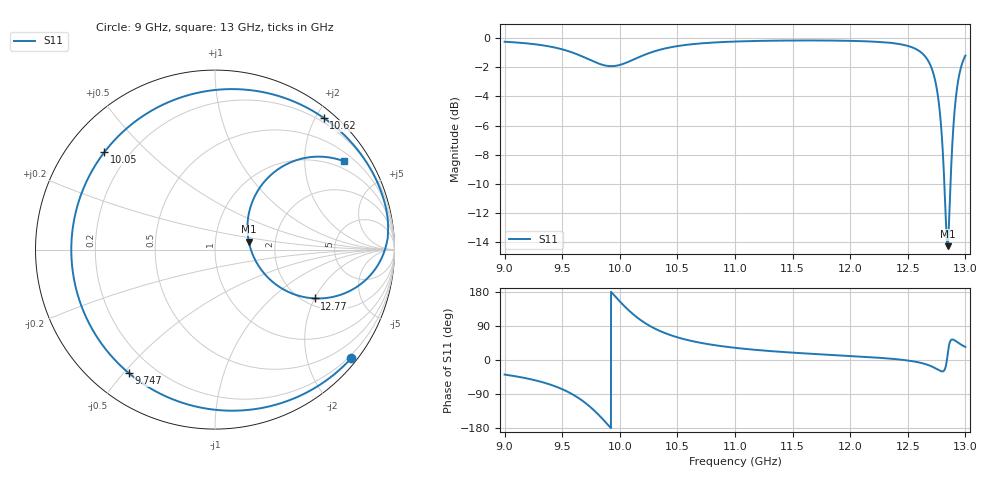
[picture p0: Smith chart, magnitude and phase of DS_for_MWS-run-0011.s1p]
! TOUCHSTONE file generated by CST DESIGN STUDIO
! Date and time: Tue Feb  4 18:17:09 2025
! Project name: C:\Work\MatlabApps\UnitCellOptimizationMatlab\CST\unitcell.cst
! Tree item: Tasks\Sweep1\SPara1\S-Parameters
! Header version: 2024
! Port assignment regex: !\s*Touchstone port\s*([0-9]+)\s*=\s*(CST MWS port|CST DES external port|CST DES block port)\s*(.+)\s* \(\"(.*)\"\)(\s*mode\s*([0-9]+))?.*
! Touchstone port assignment:
! Touchstone port 1 = CST DES external port 1 ("")
# GHz S MA R 50
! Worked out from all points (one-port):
!   4001 points, 9 GHz to 13 GHz, reference 50 ohm
!   lowest |S11| = -14.3 dB at 12.85 GHz (marker M1), VSWR 1.48, Z = 72.9 + j6.63 ohm
!   |S11| at or under -10 dB: 12.81747 GHz to 12.8706 GHz (53.13 MHz wide, 0.414 % of centre)
!   S11 on the Smith chart (normalised r, x): 9 GHz: 0.14, -2.86; 9.747 GHz: 0.11, -0.52; 10.05 GHz: 0.11, +0.37; 10.62 GHz: 0.14, +2.12; 12.77 GHz: 2.27, -2.00; 13 GHz: 0.75, +3.05
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9  0.9708 -38.5
9.282  0.9497 -54.8
9.5  0.9143 -77.0
9.637  0.8768 -99.4
9.747  0.8391 -124.8
9.883  0.8034 -166.2
9.941  0.801 174.2
10  0.8085 154.6
10.051  0.8214 138.7
10.136  0.8494 115.7
10.228  0.8798 95.8
10.36  0.914 75.0
10.5  0.938 59.8
10.62  0.9514 50.4
11  0.9723 32.2
11.5  0.9803 19.4
12  0.9777 10.6
12.5  0.9394 -1.4
12.667  0.8475 -12.2
12.72  0.7605 -18.7
12.765  0.6181 -26.1
12.806  0.3933 -29.8
12.831  0.2327 -14.9
12.845  0.1934 13.1
12.875  0.3484 52.5
12.914  0.6073 50.5
12.948  0.7527 43.4
13  0.87 34.5
